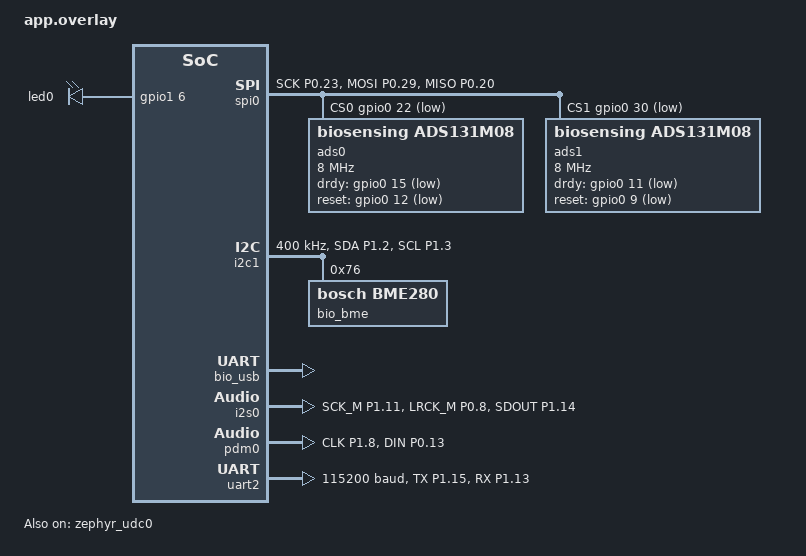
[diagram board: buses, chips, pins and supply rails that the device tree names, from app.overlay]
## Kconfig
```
mainmenu "Fanstel biosensing bring-up"

menu "Biosensing features"
config BIO_PROFILE
	string "Carrier profile name"
	default "unknown"
config BIO_ADS
	bool "ADS131M08 acquisition and register controls"
	default y
	select SPI
config BIO_ADS_SECOND
	bool "Second ADS131M08 (verify extension wiring first)"
	depends on BIO_ADS
	depends on SOC_NRF52840 || SOC_NRF5340_CPUAPP
config BIO_ADC_CLOCK
	bool "BT840 ADC CLKIN from PWM on P1.05 (4 MHz)"
	depends on BIO_ADS && SOC_NRF52840
	select PWM
config BIO_I2C_SENSORS
	bool "MAX30102, MPU6050, QMC5883L and BME/BMP280"
	depends on SOC_NRF52840 || SOC_NRF5340_CPUAPP
	select I2C
	select SENSOR
	select BME280
config BIO_USB
	bool "USB CDC framed data and text commands"
	depends on SOC_NRF52840 || SOC_NRF5340_CPUAPP
	select SERIAL
	select UART_INTERRUPT_DRIVEN
	select UART_LINE_CTRL
	select USB_DEVICE_STACK_NEXT
	select USBD_CDC_ACM_CLASS
config BIO_USB_VID
	hex "USB vendor ID (replace with your assigned VID for distribution)"
	default 0x1209
config BIO_USB_PID
	hex "USB product ID (0x0001 is for private development only)"
	default 0x0001
config BIO_AUX_UART
	bool "RP2040 UART bridge (BT5340 uart2)"
	depends on SOC_NRF5340_CPUAPP
	select SERIAL
	select UART_INTERRUPT_DRIVEN
config BIO_AUDIO
	bool "MAX98357A I2S test tone"
	depends on SOC_NRF5340_CPUAPP
	select I2S
config BIO_DMIC
	bool "PDM microphone PCM stream"
	depends on SOC_NRF5340_CPUAPP
	select AUDIO
	select AUDIO_DMIC
config BIO_BEACONS
	bool "Passive iBeacon scan and reports"
	depends on SOC_NRF52840 || SOC_NRF5340_CPUAPP
	select BT_OBSERVER
config BIO_TX_DEPTH
	int "Bounded BLE packet queue depth"
	default 8
	range 2 32
config BIO_COMMAND_DEPTH
	int "Pending commands"
	default 4
	range 1 8
config BIO_REPLY_DEPTH
	int "Pending Bluetooth replies"
	default 2
	range 1 8
config BIO_ADS_STACK
	int "ADC worker stack bytes"
	default 1536
	range 1024 4096
endmenu
config SHELL_STACK_SIZE
	default 2048
config SHELL_CMD_BUFF_SIZE
	default 128
config LOG_BUFFER_SIZE
	default 1024
source "Kconfig.zephyr"
```

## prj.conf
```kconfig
# bt5340_full: expanded preset. This is the complete configuration.
# Select nrf5340dk/nrf5340/cpuapp with NCS v3.3.1 and sysbuild.
# No EXTRA_CONF_FILE or other custom build arguments are needed.

CONFIG_GPIO=y
CONFIG_BT=y
CONFIG_BT_PERIPHERAL=y
CONFIG_BT_MAX_CONN=1
CONFIG_BT_L2CAP_TX_MTU=247
CONFIG_BT_BUF_ACL_RX_SIZE=251
CONFIG_BT_BUF_ACL_TX_SIZE=251
CONFIG_BT_BUF_ACL_TX_COUNT=3
CONFIG_BT_RX_STACK_SIZE=1536
CONFIG_MAIN_STACK_SIZE=2048
CONFIG_SYSTEM_WORKQUEUE_STACK_SIZE=1536
CONFIG_LOG=y
CONFIG_LOG_DEFAULT_LEVEL=3
CONFIG_USE_SEGGER_RTT=y
CONFIG_CONSOLE=y
CONFIG_UART_CONSOLE=n
CONFIG_RTT_CONSOLE=y
CONFIG_LOG_BACKEND_UART=n
CONFIG_LOG_BACKEND_RTT=n
CONFIG_SHELL=y
CONFIG_SHELL_BACKEND_SERIAL=n
CONFIG_SHELL_BACKEND_RTT=y
CONFIG_SHELL_VT100_COLORS=n
CONFIG_SHELL_CMDS_RESIZE=n
CONFIG_REBOOT=y
# Modules do not require an external 32.768 kHz crystal for bring-up.
CONFIG_CLOCK_CONTROL_NRF_K32SRC_RC=y
CONFIG_CLOCK_CONTROL_NRF_K32SRC_XTAL=n

CONFIG_BIO_PROFILE="BT5340 / BT40"
CONFIG_BT_DEVICE_NAME="BT40-v3"
CONFIG_BIO_I2C_SENSORS=y
CONFIG_BIO_BEACONS=y
CONFIG_HEAP_MEM_POOL_SIZE=4096

# Built-in usb feature.
CONFIG_BIO_USB=y

# Built-in second-adc feature.
CONFIG_BIO_ADS_SECOND=y

# Built-in audio feature.
CONFIG_BIO_AUDIO=y

# Built-in dmic feature.
CONFIG_BIO_DMIC=y

# Built-in aux-uart feature.
CONFIG_BIO_AUX_UART=y
CONFIG_SERIAL=y
```

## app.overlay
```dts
// bt5340_full: complete carrier overlay; automatically loaded by Zephyr.
#include <zephyr/dt-bindings/gpio/gpio.h>
#include <zephyr/dt-bindings/pinctrl/nrf-pinctrl.h>
/ {
	aliases { bio-led = &led0; ads0 = &ads0; ads1 = &ads1; sensor-i2c = &i2c1; };
};
&led0 { gpios = <&gpio1 6 GPIO_ACTIVE_HIGH>; };
&led1 { gpios = <&gpio0 19 GPIO_ACTIVE_HIGH>; status = "disabled"; };
&led2 { gpios = <&gpio1 5 GPIO_ACTIVE_HIGH>; status = "disabled"; };
&led3 { status = "disabled"; };
&button0 { status = "disabled"; };
&button1 { status = "disabled"; };
&button2 { status = "disabled"; };
&button3 { status = "disabled"; };
&gpio_fwd { status = "disabled"; };
&uart0 { status = "disabled"; };
&uart1 { status = "disabled"; };
&spi4 { status = "disabled"; };
&qspi { status = "disabled"; };
&pwm0 { status = "disabled"; };
&nfct { status = "disabled"; };
&adc { status = "disabled"; };
&i2c0 { status = "disabled"; };
&spi1 { status = "disabled"; };
&spi0 {
	status = "okay";
	compatible = "nordic,nrf-spim";
	pinctrl-0 = <&bio_spi_default>;
	pinctrl-1 = <&bio_spi_sleep>;
	pinctrl-names = "default", "sleep";
	cs-gpios = <&gpio0 22 GPIO_ACTIVE_LOW>;
	ads0: adc@0 {
		compatible = "biosensing,ads131m08";
		reg = <0>;
		spi-max-frequency = <8000000>;
		drdy-gpios = <&gpio0 15 (GPIO_ACTIVE_LOW | GPIO_PULL_UP)>;
		reset-gpios = <&gpio0 12 GPIO_ACTIVE_LOW>;
	};
	// Uses cpuapp main.cpp extension mapping, NOT its conflicting overlay CS25.
	ads1: adc@1 {
		compatible = "biosensing,ads131m08";
		reg = <1>;
		spi-max-frequency = <8000000>;
		drdy-gpios = <&gpio0 11 (GPIO_ACTIVE_LOW | GPIO_PULL_UP)>;
		reset-gpios = <&gpio0 9 GPIO_ACTIVE_LOW>;
		status = "disabled";
	};
};
&i2c1 {
	status = "okay";
	clock-frequency = <400000>;
	pinctrl-0 = <&bio_i2c_default>;
	pinctrl-1 = <&bio_i2c_sleep>;
	pinctrl-names = "default", "sleep";
	bio_bme: bme280@76 { compatible = "bosch,bme280"; reg = <0x76>; };
};
&pinctrl {
	bio_spi_default: bio_spi_default { group1 { psels = <NRF_PSEL(SPIM_SCK, 0, 23)>, <NRF_PSEL(SPIM_MOSI, 0, 29)>, <NRF_PSEL(SPIM_MISO, 0, 20)>; }; };
	bio_spi_sleep: bio_spi_sleep { group1 { psels = <NRF_PSEL(SPIM_SCK, 0, 23)>, <NRF_PSEL(SPIM_MOSI, 0, 29)>, <NRF_PSEL(SPIM_MISO, 0, 20)>; low-power-enable; }; };
	bio_i2c_default: bio_i2c_default { group1 { psels = <NRF_PSEL(TWIM_SDA, 1, 2)>, <NRF_PSEL(TWIM_SCL, 1, 3)>; }; };
	bio_i2c_sleep: bio_i2c_sleep { group1 { psels = <NRF_PSEL(TWIM_SDA, 1, 2)>, <NRF_PSEL(TWIM_SCL, 1, 3)>; low-power-enable; }; };
};

// Built-in usb wiring.
&zephyr_udc0 {
	status = "okay";
	bio_usb: cdc_acm_uart0 { compatible = "zephyr,cdc-acm-uart"; };
};

// Built-in second-adc wiring.
&spi0 { cs-gpios = <&gpio0 22 GPIO_ACTIVE_LOW>, <&gpio0 30 GPIO_ACTIVE_LOW>; };
&ads1 { status = "okay"; };

// Built-in audio wiring.
// BT5340 only. Preserve the executable overlay pin directions (old comments disagreed).
&i2s0 {
	status = "okay";
	pinctrl-0 = <&bio_i2s_default>;
	pinctrl-names = "default";
	clock-source = "ACLK";
};
&clock { hfclkaudio-frequency = <12288000>; };
&pinctrl {
	bio_i2s_default: bio_i2s_default {
		group1 { psels = <NRF_PSEL(I2S_SCK_M, 1, 11)>, <NRF_PSEL(I2S_LRCK_M, 0, 8)>, <NRF_PSEL(I2S_SDOUT, 1, 14)>; };
	};
};

// Built-in dmic wiring.
&pdm0 {
	status = "okay";
	pinctrl-0 = <&bio_pdm_default>;
	pinctrl-names = "default";
	clock-source = "PCLK32M_HFXO";
};
&pinctrl {
	bio_pdm_default: bio_pdm_default { group1 { psels = <NRF_PSEL(PDM_CLK, 1, 8)>, <NRF_PSEL(PDM_DIN, 0, 13)>; }; };
};

// Built-in aux-uart wiring.
// UART2 -> RP2040, from the original BT40 carrier overlay.
&uart2 {
	status = "okay";
	current-speed = <115200>;
	pinctrl-0 = <&bio_aux_default>;
	pinctrl-1 = <&bio_aux_sleep>;
	pinctrl-names = "default", "sleep";
};
&pinctrl {
	bio_aux_default: bio_aux_default {
		group1 { psels = <NRF_PSEL(UART_TX, 1, 15)>; };
		group2 { psels = <NRF_PSEL(UART_RX, 1, 13)>; bias-pull-up; };
	};
	bio_aux_sleep: bio_aux_sleep { group1 { psels = <NRF_PSEL(UART_TX, 1, 15)>, <NRF_PSEL(UART_RX, 1, 13)>; low-power-enable; }; };
};
```

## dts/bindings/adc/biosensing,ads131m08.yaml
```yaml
description: Application-managed ADS131M08, fixed 24-bit SPI frames
compatible: "biosensing,ads131m08"
include: spi-device.yaml
properties:
  drdy-gpios:
    type: phandle-array
    required: true
  reset-gpios:
    type: phandle-array
    required: true
```

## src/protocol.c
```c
#include "protocol.h"
#include <errno.h>
#include <stdlib.h>
#include <string.h>

static int number(const char *s, unsigned max, unsigned *out)
{
	char *end;
	if (!s || !*s || *s == '-' || *s == '+') { return -EINVAL; }
	errno = 0;
	unsigned long v = strtoul(s, &end, 0);
	if (errno || *end || v > max) { return -EINVAL; }
	*out = (unsigned)v;
	return 0;
}
static int toggle(const char *s, bool *out)
{
	if (!strcmp(s, "start") || !strcmp(s, "on")) { *out = true; return 0; }
	if (!strcmp(s, "stop") || !strcmp(s, "off")) { *out = false; return 0; }
	return -EINVAL;
}
int bio_parse(const char *line, struct bio_command *cmd)
{
	char buf[BIO_COMMAND_MAX], *argv[5], *p;
	size_t argc = 0;
	if (!line || !cmd || strlen(line) >= sizeof(buf)) { return -EINVAL; }
	memset(cmd, 0, sizeof(*cmd));
	strcpy(buf, line);
	p = buf;
	while (*p == ' ' || *p == '\t') { p++; }
	if (!strncmp(p, "uart ", 5)) {
		if (!p[5]) { return -EINVAL; }
		cmd->op = BIO_UART_SEND;
		strcpy(cmd->text, p + 5);
		return 0;
	}
	while (*p) {
		while (*p == ' ' || *p == '\t' || *p == '\r' || *p == '\n') { p++; }
		if (!*p) { break; }
		if (argc == 5) { return -EINVAL; }
		argv[argc++] = p;
		while (*p && *p != ' ' && *p != '\t' && *p != '\r' && *p != '\n') { p++; }
		if (*p) { *p++ = 0; }
	}
	if (!argc) { return -EINVAL; }
	if (argc == 1 && !strcmp(argv[0], "help")) { cmd->op = BIO_HELP; return 0; }
	if (argc == 1 && !strcmp(argv[0], "status")) { cmd->op = BIO_STATUS; return 0; }
	if (argc == 1 && !strcmp(argv[0], "stats")) { cmd->op = BIO_STATS; return 0; }
	if (argc == 3 && !strcmp(argv[0], "sensor")) {
		static const char *const names[] = { "ads0", "ads1", "mpu", "max", "bme", "qmc" };
		for (unsigned i = 0; i < 6; ++i) {
			if (!strcmp(argv[1], names[i])) {
				cmd->op = BIO_SAMPLE; cmd->id = i + 2;
				return toggle(argv[2], &cmd->enable);
			}
		}
		return -EINVAL;
	}
	if (argc == 2) {
		if (!strcmp(argv[0], "led")) { cmd->op = BIO_LED; }
		else if (!strcmp(argv[0], "scan")) { cmd->op = BIO_SCAN; }
		else if (!strcmp(argv[0], "audio")) { cmd->op = BIO_AUDIO; }
		else if (!strcmp(argv[0], "dmic")) { cmd->op = BIO_MIC; }
		else { return -EINVAL; }
		return toggle(argv[1], &cmd->enable);
	}
	if (argc >= 4 && !strcmp(argv[0], "ads")) {
		if (number(argv[1], 1, &cmd->id)) { return -EINVAL; }
		if (argc == 4 && !strcmp(argv[2], "read")) {
			cmd->op = BIO_ADS_READ;
			return number(argv[3], 0x3e, &cmd->reg);
		}
		if (argc == 5 && !strcmp(argv[2], "write")) {
			cmd->op = BIO_ADS_WRITE;
			if (number(argv[3], 0x30, &cmd->reg) || cmd->reg < 3) { return -EINVAL; }
			return number(argv[4], 65535, &cmd->value);
		}
		if (argc == 4 && !strcmp(argv[2], "gain")) {
			cmd->op = BIO_ADS_GAIN;
			if (number(argv[3], 128, &cmd->value) || !cmd->value ||
			    (cmd->value & (cmd->value - 1))) { return -EINVAL; }
			return 0;
		}
		if (argc == 4 && !strcmp(argv[2], "rate")) {
			cmd->op = BIO_ADS_RATE;
			if (number(argv[3], 2000, &cmd->value)) { return -EINVAL; }
			return (cmd->value == 250 || cmd->value == 500 || cmd->value == 1000 || cmd->value == 2000) ? 0 : -EINVAL;
		}
	}
	return -EINVAL;
}
int bio_parse_legacy(const uint8_t *data, size_t len, struct bio_command *cmd)
{
	if (!data || !cmd || len < 3 || len > BIO_COMMAND_MAX) { return -EINVAL; }
	memset(cmd, 0, sizeof(*cmd));
	if (data[0] == 9 && (data[1] == 3 || data[1] == 4)) {
		cmd->op = BIO_SCAN; cmd->enable = data[1] == 3; return 0;
	}
	if (data[1] != 1 && data[1] != 2) { return -ENOTSUP; }
	cmd->enable = data[1] == 1;
	cmd->op = BIO_SAMPLE;
	switch (data[0]) {
	case 1: if (data[2] > 1) { return -EINVAL; } cmd->id = BIO_ADS0 + data[2]; break;
	case 2: cmd->id = BIO_BME; break;
	case 3: cmd->id = BIO_MAX; break;
	case 4: cmd->id = BIO_MPU; break;
	case 5: cmd->id = BIO_QMC; break;
	case 6: cmd->op = BIO_AUDIO; break;
	case 7: cmd->op = BIO_MIC; break;
	default: return -ENOTSUP;
	}
	return 0;
}
size_t bio_frame(uint8_t *out, size_t cap, uint8_t sensor, uint16_t seq,
	const uint8_t *data, size_t total, size_t offset)
{
	if (!out || !data || !total || total > BIO_PACKET_MAX || offset >= total || cap <= BIO_FRAME_HEADER) { return 0; }
	size_t len = total - offset;
	if (len > cap - BIO_FRAME_HEADER) { len = cap - BIO_FRAME_HEADER; }
	out[0] = 0xb3; out[1] = sensor;
	out[2] = (uint8_t)seq; out[3] = (uint8_t)(seq >> 8);
	out[4] = (uint8_t)offset; out[5] = (uint8_t)(offset >> 8);
	out[6] = (uint8_t)total; out[7] = (uint8_t)(total >> 8);
	memcpy(out + BIO_FRAME_HEADER, data + offset, len);
	return len + BIO_FRAME_HEADER;
}
```
